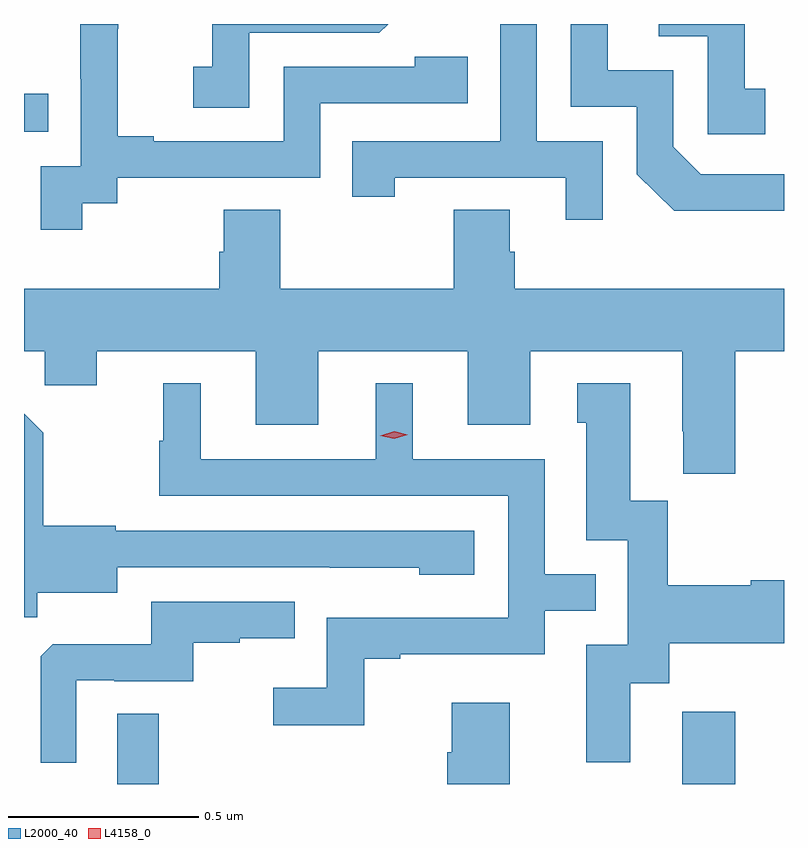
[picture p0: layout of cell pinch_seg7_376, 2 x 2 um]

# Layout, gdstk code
import gdstk
lib = gdstk.Library(unit=1e-6, precision=1e-09)
def R(c, l, rs):  # rectangles x0, y0, x1, y1
    for r in rs: c.add(gdstk.rectangle(r[:2], r[2:], *l))
def P(c, l, *ps):  # polygons
    for p in ps: c.add(gdstk.Polygon(p, *l))
L2000_40 = (2000, 40)
L4158_0 = (4158, 0)

pinch_seg7_376 = lib.new_cell('pinch_seg7_376')
R(pinch_seg7_376, L2000_40, [(383.07,1035.441,383.179,1035.626), (384.557,1035.441,384.697,1035.631), (382.825,1037.157,382.889,1037.258)])
P(pinch_seg7_376, L2000_40, [(384.775,1037.271),(384.722,1037.271),(384.722,1037.441),(384.495,1037.441),(384.495,1037.409),(384.624,1037.409),(384.624,1037.151),(384.775,1037.151)],
  [(382.978,1036.969),(383.07,1036.969),(383.07,1037.037),(383.604,1037.037),(383.604,1037.232),(383.993,1037.232),(383.993,1037.355),(383.853,1037.355),(383.853,1037.328),(383.508,1037.328),(383.508,1037.133),(383.167,1037.133),(383.167,1037.146),(383.072,1037.146),(383.072,1037.429),(383.073,1037.429),(383.073,1037.441),(382.973,1037.441),(382.973,1037.297),(382.974,1037.297),(382.974,1037.067),(382.869,1037.067),(382.869,1036.899),(382.978,1036.899)],
  [(384.348,1037.133),(384.174,1037.133),(384.174,1037.441),(384.078,1037.441),(384.078,1037.133),(383.689,1037.133),(383.689,1036.986),(383.8,1036.986),(383.8,1037.037),(384.251,1037.037),(384.251,1036.926),(384.348,1036.926)],
  [(383.418,1037.418),(383.76,1037.418),(383.783,1037.441),(383.32,1037.441),(383.32,1037.329),(383.271,1037.329),(383.271,1037.22),(383.418,1037.22)],
  [(384.825,1037.046),(384.606,1037.046),(384.534,1037.118),(384.534,1037.319),(384.361,1037.319),(384.361,1037.441),(384.264,1037.441),(384.264,1037.223),(384.438,1037.223),(384.438,1037.046),(384.536,1036.949),(384.825,1036.949)],
  [(383.435,1036.386),(383.599,1036.386),(383.599,1036.58),(383.993,1036.58),(383.993,1036.386),(384.157,1036.386),(384.157,1036.58),(384.557,1036.58),(384.557,1036.369),(384.56,1036.369),(384.56,1036.257),(384.697,1036.257),(384.697,1036.58),(384.825,1036.58),(384.825,1036.744),(384.116,1036.744),(384.116,1036.842),(384.103,1036.842),(384.103,1036.952),(383.956,1036.952),(383.956,1036.744),(383.499,1036.744),(383.499,1036.952),(383.351,1036.952),(383.351,1036.842),(383.339,1036.842),(383.339,1036.744),(382.825,1036.744),(382.825,1036.58),(382.879,1036.58),(382.879,1036.49),(383.017,1036.49),(383.017,1036.58),(383.435,1036.58)],
  [(383.721,1035.771),(383.815,1035.771),(383.815,1035.783),(384.195,1035.783),(384.195,1035.897),(384.329,1035.897),(384.329,1035.993),(384.195,1035.993),(384.195,1036.296),(383.848,1036.296),(383.848,1036.495),(383.75,1036.495),(383.75,1036.296),(383.29,1036.296),(383.29,1036.495),(383.192,1036.495),(383.192,1036.344),(383.181,1036.344),(383.181,1036.2),(384.099,1036.2),(384.099,1035.879),(383.622,1035.879),(383.622,1035.694),(383.481,1035.694),(383.481,1035.596),(383.721,1035.596)],
  [(384.421,1035.706),(384.523,1035.706),(384.523,1035.812),(384.825,1035.812),(384.825,1035.977),(384.737,1035.977),(384.737,1035.964),(384.519,1035.964),(384.519,1036.187),(384.421,1036.187),(384.421,1036.495),(384.281,1036.495),(384.281,1036.392),(384.305,1036.392),(384.305,1036.083),(384.414,1036.083),(384.414,1035.807),(384.305,1035.807),(384.305,1035.498),(384.421,1035.498)],
  [(382.86,1035.944),(383.071,1035.944),(383.071,1036.011),(383.629,1036.011),(383.629,1036.01),(383.865,1036.01),(383.865,1035.992),(384.01,1035.992),(384.01,1036.107),(383.067,1036.107),(383.067,1036.12),(382.875,1036.12),(382.875,1036.365),(382.825,1036.415),(382.825,1035.88),(382.86,1035.88)],
  [(382.962,1035.714),(383.062,1035.714),(383.062,1035.711),(383.27,1035.711),(383.27,1035.813),(383.393,1035.813),(383.393,1035.824),(383.537,1035.824),(383.537,1035.921),(383.16,1035.921),(383.16,1035.809),(382.901,1035.809),(382.869,1035.777),(382.869,1035.497),(382.962,1035.497)],
  [(384.103,1035.655),(383.951,1035.655),(383.951,1035.525),(383.939,1035.525),(383.939,1035.441),(384.103,1035.441)])
P(pinch_seg7_376, L4158_0, [(383.799,1036.349),(383.763,1036.358),(383.763,1036.358),(383.763,1036.358),(383.799,1036.369),(383.835,1036.36),(383.835,1036.36),(383.835,1036.36)])

lib.write_gds('pinch_seg7_376.gds')
